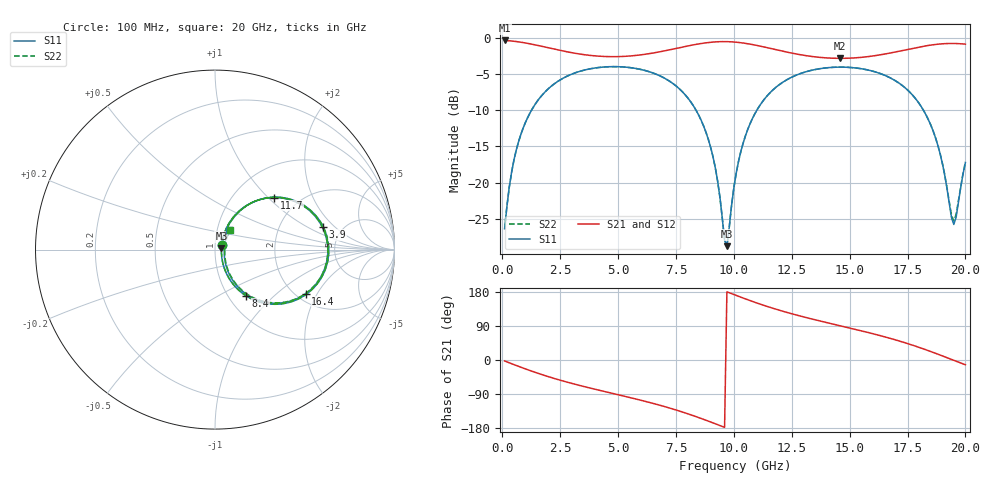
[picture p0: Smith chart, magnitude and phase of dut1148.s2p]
! Touchstone file exported from HFSS 2026.1.0
!  File:  C:/ffzhzh/LocalFiles/Ansys_Project_Files/temp_train_TSV_RDL_1148_1783310479_30076.aedt
!  Generated:  12:16:15 PM Jul  6, 2026
!  Design:  TSV_RDL
!  Project:  temp_train_TSV_RDL_1148_1783310479_30076
! Variables:
!  h_bsmrdl = 5.26um
!  h_ox = 20um
!  h_rdl = 5um
!  h_sub = 69.31um
!  h_tmrdl = 2.22um
!  h_tsv = 69.31um
!  h_via = 3um
!  l_bsmrdl = 987.43um
!  l_sub = 6275.39um
!  l_tmrdl = 704.23um
!  m_sub = 200um
!  pitch = 54.74um
!  r_tsv = 14.74um
!  s_tmrdl = 10um
!  w_bsmrdl = 11.34um
!  w_sub = 500um
!  w_tmrdl = 20.72um
!  x_tsv_center1 = 714.59um
!  x_tsv_center2 = 1713.36um
!  x_tsv_center3 = 2438.31um
!  x_tsv_center4 = 3437.08um
!  x_tsv_center5 = 4162.03um
!  x_tsv_center6 = 5160.8um
# GHz S MA R 50.000000
! Terminal data exported
! Port[1] = TM_RDL1_1_T1
! Port[2] = TM_RDL5_1_T1
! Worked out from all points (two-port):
!   200 points, 100 MHz to 20 GHz, reference 50 ohm
!   highest |S21| = -0.35 dB at 100 MHz (marker M1); lowest = -2.8 dB at 14.6 GHz (marker M2)
!   |S21| within 3 dB of the highest: start of sweep to end of sweep
!   lowest |S11| = -28.8 dB at 9.7 GHz (marker M3), VSWR 1.08, Z = 53.7 + j0.683 ohm
!   |S11| at or under -10 dB: start of sweep to 1.261 GHz; 8.369 GHz to 10.99 GHz (2.623 GHz wide, 27.1 % of centre); 18.19 GHz to end of sweep
!   |S22| runs from -28.7 to -4.0 dB; largest |S21 - S12| = 1.8e-14
!   S11 on the Smith chart (normalised r, x): 100 MHz: 1.08, +0.06; 3.9 GHz: 3.58, +1.45; 8.4 GHz: 1.20, -0.69; 11.7 GHz: 1.51, +1.09; 16.4 GHz: 2.24, -1.61; 20 GHz: 1.14, +0.26
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0.1  0.04794 33.8  0.961 -2.5  0.961 -2.5  0.04794 33.8
! Gamma 0 0 0 0
! Port Impedance 50 0 50 0
0.5  0.1425 60.9  0.9491 -12.1  0.9491 -12.1  0.1425 60.9
1.1  0.2826 55.5  0.9172 -25.7  0.9172 -25.7  0.2826 55.6
2.2  0.4759 37.4  0.8403 -47.9  0.8403 -47.9  0.4759 37.4
3.5  0.5973 17.5  0.7677 -69.6  0.7677 -69.6  0.5973 17.5
3.9  0.6163 11.8  0.7545 -75.6  0.7545 -75.6  0.6163 11.8
5.4  0.6269 -8.8  0.7481 -97.4  0.7481 -97.4  0.6269 -8.8
6.8  0.548 -29.2  0.8021 -119.3  0.8021 -119.3  0.548 -29.2
8.4  0.31 -56.2  0.905 -150.1  0.905 -150.1  0.31 -56.1
9.1  0.1509 -64.4  0.9367 -165.9  0.9367 -165.9  0.1509 -64.3
9.7  0.0364 10.0  0.943 179.9  0.943 179.9  0.03654 10.1
10.1  0.1158 61.1  0.9348 170.4  0.9348 170.4  0.1159 61.1
10.7  0.2553 57.8  0.9066 156.8  0.9066 156.8  0.2553 57.8
11.7  0.4392 41.4  0.8382 136.3  0.8382 136.3  0.4392 41.4
13.4  0.5999 15.3  0.7437 107.7  0.7437 107.7  0.5999 15.5
14.6  0.6287 -1.0  0.7228 90.2  0.7228 90.2  0.6286 -0.8
16.4  0.5617 -25.9  0.7682 63.0  0.7682 63.0  0.5618 -25.7
16.7  0.5353 -30.4  0.7839 58.0  0.7839 58.0  0.5354 -30.2
18.5  0.251 -58.1  0.8926 22.5  0.8926 22.5  0.2515 -57.4
19  0.137 -58.9  0.9111 11.0  0.9111 11.0  0.1379 -57.7
19.5  0.05143 -1.6  0.916 -0.8  0.916 -0.8  0.05437 -1.5
20  0.1378 54.4  0.9059 -12.6  0.9059 -12.6  0.139 53.3
